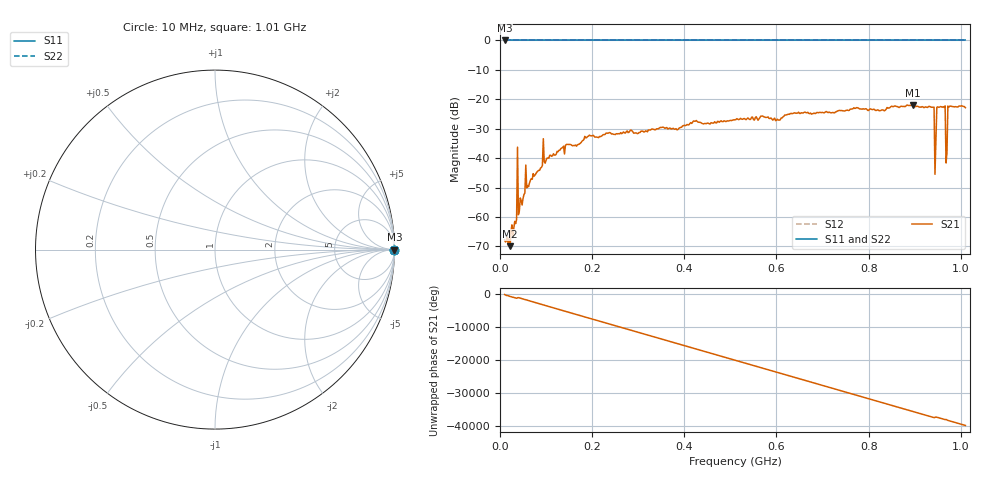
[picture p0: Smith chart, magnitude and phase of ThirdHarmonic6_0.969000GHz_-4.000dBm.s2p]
! 8/16/2025 7:18:45 AM
! C:\ANRITSUVNA\TEMP\TEMP.S2P
! CHANNEL.1
! TR.MEASUREMENT
! RAW.DATA
! RF.CORRECTION.OFF
! AVERAGING.OFF
! IF.BANDWIDTH: 5KHZ
! SWEEPTYPE:  FREQ.SWEEP(Linear)
! Reference Plane Port Info
! PORT:  PORT1  PORT2
! DISTANCE:  0  m  0  m
! TIME:  0  s  0  s
! PHASE.OFFSET:  0  deg.  0  deg.
! LOSS:  0  dB  0  dB
! REF.LOSS:  0  dB  0  dB
! REF.FREQ:  0  Hz  0  Hz
! Power Info
! POWER:  -20  dBm  -20  dBm
! EFF.POWER:  -20  dBm  -20  dBm
! SOURCE.ATTEN:  0  dB  0  dB
! TEST.ATTEN:  0  dB  0  dB
# GHZ S RI R 50.0
! FREQ.GHZ  S11RE  S11IM  S21RE  S21IM  S12RE  S12IM  S22RE  S22IM
!; PortSelection: Port_12
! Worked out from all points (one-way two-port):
!   501 points, 10 MHz to 1.01 GHz, reference 50 ohm
!   highest |S21| = -21.93 dB at 896 MHz (marker M1); lowest = -69.9 dB at 22 MHz (marker M2)
!   lowest |S11| = 0.0 dB at 10 MHz (marker M3)
!   |S11| at or under -10 dB: nowhere
!   |S22| runs from 0.0 to 0.0 dB; largest |S21 - S12| = 1.1
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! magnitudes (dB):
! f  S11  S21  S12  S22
! 10 MHz  0.0  -67.8  0.0  0.0
! 22 MHz  0.0  -69.9  0.0  0.0
! 32 MHz  0.0  -61.5  0.0  0.0
! 34 MHz  0.0  -62.2  0.0  0.0
! 42 MHz  0.0  -57.9  0.0  0.0
! 44 MHz  0.0  -53.5  0.0  0.0
! 98 MHz  0.0  -41.7  0.0  0.0
! 178 MHz  0.0  -34.2  0.0  0.0
! 344 MHz  0.0  -30.0  0.0  0.0
! 510 MHz  0.0  -26.9  0.0  0.0
! 678 MHz  0.0  -24.9  0.0  0.0
! 844 MHz  0.0  -23.0  0.0  0.0
! 896 MHz  0.0  -21.9  0.0  0.0
! 938 MHz  0.0  -22.7  0.0  0.0
! 942 MHz  0.0  -22.7  0.0  0.0
! 948 MHz  0.0  -22.7  0.0  0.0
! 952 MHz  0.0  -22.7  0.0  0.0
! 962 MHz  0.0  -22.5  0.0  0.0
! 966 MHz  0.0  -22.2  0.0  0.0
! 972 MHz  0.0  -22.3  0.0  0.0
! 976 MHz  0.0  -22.3  0.0  0.0
! 1.01 GHz  0.0  -22.9  0.0  0.0
